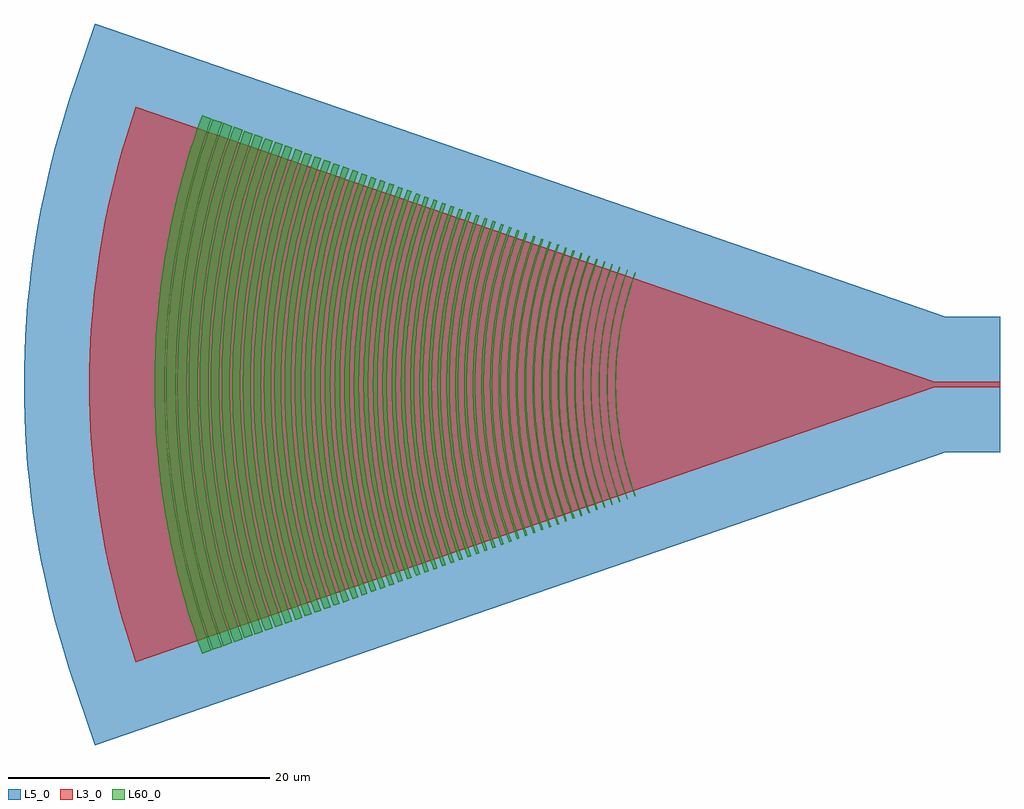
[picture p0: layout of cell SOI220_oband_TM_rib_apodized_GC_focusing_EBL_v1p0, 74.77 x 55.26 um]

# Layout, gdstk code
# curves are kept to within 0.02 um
import gdstk
lib = gdstk.Library(unit=1e-6, precision=1e-09)
def P(c, l, *ps):  # polygons
    for p in ps: c.add(gdstk.Polygon(p, *l))
L3_0 = (3, 0)
L5_0 = (5, 0)
L60_0 = (60, 0)

soi220_oband_tm_rib_apod = lib.new_cell('SOI220_oband_TM_rib_apodized_GC_focusing_EBL_v1p0')
P(soi220_oband_tm_rib_apod, L3_0, [(-66.209,-21.276),(-66.914,-19.106),(-67.828,-15.81),(-68.341,-13.587),(-68.776,-11.348),(-69.282,-7.964),(-69.52,-5.696),(-69.61,-4.559),(-69.729,-2.281),(-69.769,0),(-69.729,2.281),(-69.61,4.559),(-69.52,5.696),(-69.282,7.964),(-68.776,11.348),(-68.341,13.587),(-67.828,15.81),(-66.914,19.106),(-66.209,21.276),(-5,0.2),(0,0.2),(0,-0.2),(-5,-0.2)])
P(soi220_oband_tm_rib_apod, L5_0, [(-69.309,-27.631),(-69.364,-27.604),(-71.327,-21.739),(-72.044,-19.39),(-72.68,-17.02),(-73.232,-14.626),(-73.476,-13.423),(-73.903,-11.006),(-74.245,-8.573),(-74.384,-7.353),(-74.598,-4.907),(-74.672,-3.681),(-74.726,-2.456),(-74.769,0),(-74.726,2.456),(-74.672,3.681),(-74.598,4.907),(-74.384,7.353),(-74.245,8.573),(-73.903,11.006),(-73.476,13.423),(-73.232,14.626),(-72.68,17.02),(-72.044,19.39),(-71.327,21.739),(-69.364,27.604),(-69.309,27.631),(-4.163,5.2),(0,5.2),(0,-5.2),(-4.163,-5.2)])
P(soi220_oband_tm_rib_apod, L60_0, [(-27.967,-8.571),(-28.114,-8.159),(-28.319,-7.536),(-28.509,-6.908),(-28.625,-6.486),(-28.885,-5.424),(-29.019,-4.781),(-29.098,-4.351),(-29.203,-3.704),(-29.293,-3.054),(-29.384,-2.184),(-29.455,-1.093),(-29.479,0),(-29.455,1.093),(-29.384,2.184),(-29.293,3.054),(-29.203,3.704),(-29.098,4.351),(-29.019,4.781),(-28.885,5.424),(-28.625,6.486),(-28.509,6.908),(-28.319,7.536),(-28.114,8.159),(-27.967,8.571),(-27.911,8.551),(-28.127,7.933),(-28.327,7.309),(-28.51,6.681),(-28.676,6.048),(-28.873,5.198),(-29.076,4.126),(-29.233,3.047),(-29.324,2.179),(-29.395,1.09),(-29.419,0),(-29.395,-1.09),(-29.324,-2.179),(-29.233,-3.047),(-29.076,-4.126),(-28.873,-5.198),(-28.676,-6.048),(-28.51,-6.681),(-28.327,-7.309),(-28.127,-7.933),(-27.911,-8.551)],
  [(-28.572,-8.79),(-28.931,-7.729),(-29.126,-7.085),(-29.245,-6.653),(-29.512,-5.563),(-29.649,-4.905),(-29.73,-4.463),(-29.901,-3.355),(-29.981,-2.686),(-30.023,-2.24),(-30.059,-1.793),(-30.097,-1.121),(-30.121,0),(-30.097,1.121),(-30.059,1.793),(-30.023,2.24),(-29.981,2.686),(-29.901,3.355),(-29.73,4.463),(-29.649,4.905),(-29.512,5.563),(-29.245,6.653),(-29.126,7.085),(-28.931,7.729),(-28.572,8.79),(-28.515,8.77),(-28.736,8.136),(-28.941,7.497),(-29.128,6.853),(-29.299,6.203),(-29.501,5.331),(-29.632,4.673),(-29.709,4.232),(-29.87,3.125),(-29.921,2.68),(-29.982,2.012),(-30.037,1.118),(-30.061,0),(-30.037,-1.118),(-29.982,-2.012),(-29.921,-2.68),(-29.87,-3.125),(-29.709,-4.232),(-29.632,-4.673),(-29.501,-5.331),(-29.299,-6.203),(-29.128,-6.853),(-28.941,-7.497),(-28.736,-8.136),(-28.515,-8.77)],
  [(-29.153,-9.002),(-29.307,-8.57),(-29.523,-7.915),(-29.722,-7.255),(-29.844,-6.812),(-29.959,-6.368),(-30.117,-5.697),(-30.213,-5.248),(-30.341,-4.57),(-30.452,-3.891),(-30.515,-3.436),(-30.572,-2.98),(-30.641,-2.294),(-30.677,-1.836),(-30.716,-1.149),(-30.732,-0.689),(-30.741,0),(-30.732,0.689),(-30.716,1.149),(-30.692,1.607),(-30.641,2.294),(-30.572,2.98),(-30.515,3.436),(-30.452,3.891),(-30.341,4.57),(-30.213,5.248),(-30.117,5.697),(-29.959,6.368),(-29.844,6.812),(-29.722,7.255),(-29.523,7.915),(-29.307,8.57),(-29.153,9.002),(-29.097,8.982),(-29.396,8.115),(-29.6,7.459),(-29.901,6.353),(-30.008,5.908),(-30.154,5.236),(-30.321,4.334),(-30.393,3.882),(-30.485,3.201),(-30.581,2.289),(-30.617,1.832),(-30.656,1.146),(-30.677,0.458),(-30.681,0),(-30.677,-0.458),(-30.656,-1.146),(-30.617,-1.832),(-30.581,-2.289),(-30.485,-3.201),(-30.393,-3.882),(-30.321,-4.334),(-30.154,-5.236),(-30.008,-5.908),(-29.901,-6.353),(-29.6,-7.459),(-29.396,-8.115),(-29.097,-8.982)],
  [(-29.735,-9.214),(-29.892,-8.772),(-30.113,-8.101),(-30.251,-7.652),(-30.442,-6.973),(-30.56,-6.517),(-30.722,-5.831),(-30.951,-4.678),(-31.064,-3.982),(-31.16,-3.283),(-31.258,-2.348),(-31.295,-1.879),(-31.334,-1.176),(-31.351,-0.706),(-31.36,0),(-31.351,0.706),(-31.334,1.176),(-31.295,1.879),(-31.258,2.348),(-31.16,3.283),(-31.064,3.982),(-30.951,4.678),(-30.722,5.831),(-30.56,6.517),(-30.442,6.973),(-30.251,7.652),(-30.113,8.101),(-29.892,8.772),(-29.735,9.214),(-29.679,9.194),(-29.911,8.529),(-30.125,7.859),(-30.322,7.184),(-30.502,6.503),(-30.713,5.589),(-30.892,4.668),(-31.005,3.973),(-31.07,3.509),(-31.153,2.81),(-31.198,2.343),(-31.235,1.875),(-31.274,1.173),(-31.291,0.704),(-31.3,0),(-31.291,-0.704),(-31.274,-1.173),(-31.235,-1.875),(-31.198,-2.343),(-31.153,-2.81),(-31.07,-3.509),(-31.005,-3.973),(-30.892,-4.668),(-30.713,-5.589),(-30.502,-6.503),(-30.322,-7.184),(-30.125,-7.859),(-29.911,-8.529),(-29.679,-9.194)],
  [(-30.32,-9.427),(-30.707,-8.288),(-31.043,-7.133),(-31.328,-5.965),(-31.476,-5.26),(-31.563,-4.786),(-31.746,-3.597),(-31.877,-2.402),(-31.956,-1.202),(-31.982,0),(-31.956,1.202),(-31.877,2.402),(-31.746,3.597),(-31.563,4.786),(-31.476,5.26),(-31.328,5.965),(-31.043,7.133),(-30.707,8.288),(-30.32,9.427),(-30.253,9.403),(-30.49,8.723),(-30.71,8.038),(-30.911,7.347),(-31.094,6.651),(-31.359,5.481),(-31.534,4.537),(-31.706,3.35),(-31.826,2.157),(-31.885,1.199),(-31.911,0),(-31.885,-1.199),(-31.826,-2.157),(-31.706,-3.35),(-31.534,-4.537),(-31.359,-5.481),(-31.094,-6.651),(-30.911,-7.347),(-30.71,-8.038),(-30.49,-8.723),(-30.253,-9.403)],
  [(-30.922,-9.645),(-31.317,-8.481),(-31.724,-7.062),(-32.006,-5.863),(-32.236,-4.655),(-32.412,-3.437),(-32.515,-2.458),(-32.595,-1.231),(-32.622,0),(-32.595,1.231),(-32.515,2.458),(-32.412,3.437),(-32.236,4.655),(-32.006,5.863),(-31.724,7.062),(-31.317,8.481),(-30.922,9.645),(-30.821,9.609),(-31.215,8.449),(-31.558,7.272),(-31.849,6.081),(-32.13,4.637),(-32.306,3.424),(-32.408,2.449),(-32.488,1.226),(-32.515,0),(-32.488,-1.226),(-32.408,-2.449),(-32.306,-3.424),(-32.13,-4.637),(-31.849,-6.081),(-31.558,-7.272),(-31.215,-8.449),(-30.821,-9.609)],
  [(-31.52,-9.864),(-31.925,-8.673),(-32.276,-7.465),(-32.575,-6.242),(-32.821,-5.008),(-33.012,-3.765),(-33.15,-2.513),(-33.232,-1.258),(-33.259,0),(-33.232,1.258),(-33.15,2.513),(-33.012,3.765),(-32.821,5.008),(-32.575,6.242),(-32.276,7.465),(-31.925,8.673),(-31.52,9.864),(-31.409,9.824),(-31.812,8.637),(-32.226,7.191),(-32.513,5.972),(-32.747,4.74),(-32.927,3.5),(-33.032,2.503),(-33.114,1.253),(-33.141,0),(-33.114,-1.253),(-33.032,-2.503),(-32.927,-3.5),(-32.747,-4.74),(-32.513,-5.972),(-32.226,-7.191),(-31.812,-8.637),(-31.409,-9.824)],
  [(-32.105,-10.076),(-32.518,-8.86),(-32.877,-7.626),(-33.238,-6.125),(-33.433,-5.116),(-33.629,-3.846),(-33.769,-2.568),(-33.853,-1.285),(-33.881,0),(-33.853,1.285),(-33.769,2.568),(-33.629,3.846),(-33.433,5.116),(-33.238,6.125),(-32.877,7.626),(-32.518,8.86),(-32.105,10.076),(-32,10.039),(-32.412,8.826),(-32.835,7.349),(-33.129,6.102),(-33.409,4.592),(-33.551,3.577),(-33.68,2.303),(-33.742,1.28),(-33.77,0),(-33.742,-1.28),(-33.68,-2.303),(-33.551,-3.577),(-33.409,-4.592),(-33.129,-6.102),(-32.835,-7.349),(-32.412,-8.826),(-32,-10.039)],
  [(-32.715,-10.298),(-33.137,-9.054),(-33.504,-7.793),(-33.817,-6.517),(-34.073,-5.228),(-34.273,-3.93),(-34.438,-2.362),(-34.512,-1.051),(-34.53,0),(-34.512,1.051),(-34.438,2.362),(-34.273,3.93),(-34.073,5.228),(-33.817,6.517),(-33.504,7.793),(-33.137,9.054),(-32.715,10.298),(-32.583,10.251),(-33.003,9.012),(-33.369,7.757),(-33.68,6.487),(-33.979,4.947),(-34.167,3.653),(-34.298,2.351),(-34.372,1.046),(-34.39,0),(-34.372,-1.046),(-34.298,-2.351),(-34.167,-3.653),(-33.979,-4.947),(-33.68,-6.487),(-33.369,-7.757),(-33.003,-9.012),(-32.583,-10.251)],
  [(-33.309,-10.515),(-33.74,-9.245),(-34.115,-7.957),(-34.434,-6.654),(-34.696,-5.339),(-34.9,-4.013),(-35.046,-2.68),(-35.134,-1.341),(-35.163,0),(-35.134,1.341),(-35.046,2.68),(-34.9,4.013),(-34.696,5.339),(-34.434,6.654),(-34.115,7.957),(-33.74,9.245),(-33.309,10.515),(-33.184,10.47),(-33.613,9.205),(-33.987,7.923),(-34.361,6.364),(-34.61,5.052),(-34.802,3.731),(-34.914,2.668),(-35.001,1.335),(-35.03,0),(-35.001,-1.335),(-34.914,-2.668),(-34.802,-3.731),(-34.61,-5.052),(-34.361,-6.364),(-33.987,-7.923),(-33.613,-9.205),(-33.184,-10.47)],
  [(-33.918,-10.737),(-34.359,-9.44),(-34.742,-8.125),(-35.068,-6.795),(-35.335,-5.451),(-35.544,-4.098),(-35.716,-2.463),(-35.793,-1.096),(-35.812,0),(-35.793,1.096),(-35.716,2.463),(-35.544,4.098),(-35.335,5.451),(-35.068,6.795),(-34.742,8.125),(-34.359,9.44),(-33.918,10.737),(-33.783,10.688),(-34.222,9.397),(-34.673,7.824),(-34.985,6.497),(-35.239,5.158),(-35.435,3.808),(-35.572,2.452),(-35.649,1.091),(-35.668,0),(-35.649,-1.091),(-35.572,-2.452),(-35.435,-3.808),(-35.239,-5.158),(-34.985,-6.497),(-34.673,-7.824),(-34.222,-9.397),(-33.783,-10.688)],
  [(-34.522,-10.955),(-34.97,-9.633),(-35.361,-8.291),(-35.694,-6.933),(-35.967,-5.563),(-36.179,-4.182),(-36.331,-2.792),(-36.423,-1.397),(-36.453,0),(-36.423,1.397),(-36.331,2.792),(-36.179,4.182),(-35.967,5.563),(-35.694,6.933),(-35.361,8.291),(-34.97,9.633),(-34.522,10.955),(-34.387,10.907),(-34.917,9.324),(-35.294,7.985),(-35.613,6.631),(-35.873,5.264),(-36.072,3.887),(-36.212,2.502),(-36.291,1.113),(-36.31,0),(-36.291,-1.113),(-36.212,-2.502),(-36.072,-3.887),(-35.873,-5.264),(-35.613,-6.631),(-35.294,-7.985),(-34.917,-9.324),(-34.387,-10.907)],
  [(-35.126,-11.176),(-35.585,-9.827),(-35.984,-8.458),(-36.322,-7.073),(-36.601,-5.674),(-36.818,-4.266),(-36.997,-2.564),(-37.066,-1.426),(-37.097,0),(-37.066,1.426),(-36.997,2.564),(-36.818,4.266),(-36.601,5.674),(-36.322,7.073),(-35.984,8.458),(-35.585,9.827),(-35.126,11.176),(-34.984,11.125),(-35.441,9.781),(-35.91,8.144),(-36.293,6.485),(-36.546,5.088),(-36.704,3.964),(-36.846,2.552),(-36.915,1.419),(-36.946,0),(-36.915,-1.419),(-36.846,-2.552),(-36.704,-3.964),(-36.546,-5.088),(-36.293,-6.485),(-35.91,-8.144),(-35.441,-9.781),(-34.984,-11.125)],
  [(-35.742,-11.399),(-36.209,-10.023),(-36.616,-8.627),(-36.962,-7.214),(-37.246,-5.788),(-37.467,-4.351),(-37.625,-2.905),(-37.72,-1.454),(-37.752,0),(-37.72,1.454),(-37.625,2.905),(-37.467,4.351),(-37.246,5.788),(-36.962,7.214),(-36.616,8.627),(-36.209,10.023),(-35.742,11.399),(-35.588,11.344),(-36.139,9.698),(-36.531,8.305),(-36.922,6.613),(-37.18,5.189),(-37.375,3.755),(-37.486,2.602),(-37.568,1.158),(-37.588,0),(-37.568,-1.158),(-37.486,-2.602),(-37.375,-3.755),(-37.18,-5.189),(-36.922,-6.613),(-36.531,-8.305),(-36.139,-9.698),(-35.588,-11.344)],
  [(-36.364,-11.625),(-36.84,-10.222),(-37.255,-8.799),(-37.607,-7.358),(-37.896,-5.902),(-38.123,-4.437),(-38.283,-2.963),(-38.381,-1.482),(-38.413,0),(-38.381,1.482),(-38.283,2.963),(-38.123,4.437),(-37.896,5.902),(-37.607,7.358),(-37.255,8.799),(-36.84,10.222),(-36.364,11.625),(-36.198,11.566),(-36.672,10.169),(-37.16,8.467),(-37.498,7.031),(-37.821,5.29),(-38.02,3.828),(-38.133,2.653),(-38.205,1.475),(-38.237,0),(-38.205,-1.475),(-38.133,-2.653),(-38.02,-3.828),(-37.821,-5.29),(-37.498,-7.031),(-37.16,-8.467),(-36.672,-10.169),(-36.198,-11.566)],
  [(-36.984,-11.852),(-37.47,-10.421),(-37.893,-8.969),(-38.253,-7.501),(-38.547,-6.018),(-38.777,-4.523),(-38.942,-3.02),(-39.041,-1.512),(-39.074,0),(-39.041,1.512),(-38.942,3.02),(-38.777,4.523),(-38.547,6.018),(-38.253,7.501),(-37.893,8.969),(-37.47,10.421),(-36.984,11.852),(-36.81,11.789),(-37.294,10.365),(-37.791,8.631),(-38.136,7.167),(-38.465,5.392),(-38.632,4.201),(-38.783,2.704),(-38.868,1.203),(-38.889,0),(-38.868,-1.203),(-38.783,-2.704),(-38.632,-4.201),(-38.465,-5.392),(-38.136,-7.167),(-37.791,-8.631),(-37.294,-10.365),(-36.81,-11.789)],
  [(-37.602,-12.077),(-38.098,-10.618),(-38.528,-9.139),(-38.895,-7.643),(-39.195,-6.132),(-39.43,-4.609),(-39.597,-3.078),(-39.699,-1.541),(-39.732,0),(-39.699,1.541),(-39.597,3.078),(-39.43,4.609),(-39.195,6.132),(-38.895,7.643),(-38.528,9.139),(-38.098,10.618),(-37.602,12.077),(-37.42,12.011),(-37.913,10.56),(-38.419,8.793),(-38.771,7.302),(-39.106,5.494),(-39.312,3.976),(-39.43,2.755),(-39.517,1.226),(-39.538,0),(-39.517,-1.226),(-39.43,-2.755),(-39.312,-3.976),(-39.106,-5.494),(-38.771,-7.302),(-38.419,-8.793),(-37.913,-10.56),(-37.42,-12.011)],
  [(-38.225,-12.303),(-38.729,-10.818),(-39.168,-9.311),(-39.541,-7.787),(-39.848,-6.247),(-40.086,-4.696),(-40.257,-3.135),(-40.36,-1.569),(-40.394,0),(-40.36,1.569),(-40.257,3.135),(-40.086,4.696),(-39.848,6.247),(-39.541,7.787),(-39.168,9.311),(-38.729,10.818),(-38.225,12.303),(-38.031,12.234),(-38.533,10.756),(-39.049,8.956),(-39.47,7.131),(-39.748,5.596),(-39.958,4.049),(-40.078,2.806),(-40.154,1.56),(-40.188,0),(-40.154,-1.56),(-40.078,-2.806),(-39.958,-4.049),(-39.748,-5.596),(-39.47,-7.131),(-39.049,-8.956),(-38.533,-10.756),(-38.031,-12.234)],
  [(-38.851,-12.531),(-39.365,-11.019),(-39.812,-9.484),(-40.193,-7.931),(-40.505,-6.363),(-40.747,-4.783),(-40.921,-3.193),(-41.026,-1.599),(-41.061,0),(-41.026,1.599),(-40.921,3.193),(-40.747,4.783),(-40.505,6.363),(-40.193,7.931),(-39.812,9.484),(-39.365,11.019),(-38.851,12.531),(-38.645,12.457),(-39.156,10.953),(-39.682,9.12),(-40.111,7.262),(-40.394,5.698),(-40.571,4.439),(-40.73,2.858),(-40.82,1.271),(-40.842,0),(-40.82,-1.271),(-40.73,-2.858),(-40.571,-4.439),(-40.394,-5.698),(-40.111,-7.262),(-39.682,-9.12),(-39.156,-10.953),(-38.645,-12.457)],
  [(-39.484,-12.761),(-40.007,-11.221),(-40.462,-9.658),(-40.85,-8.076),(-41.168,-6.479),(-41.415,-4.87),(-41.592,-3.252),(-41.699,-1.628),(-41.734,0),(-41.699,1.628),(-41.592,3.252),(-41.415,4.87),(-41.168,6.479),(-40.85,8.076),(-40.462,9.658),(-40.007,11.221),(-39.484,12.761),(-39.266,12.683),(-39.882,10.842),(-40.321,9.285),(-40.758,7.393),(-41.045,5.801),(-41.226,4.519),(-41.388,2.909),(-41.467,1.618),(-41.502,0),(-41.467,-1.618),(-41.388,-2.909),(-41.226,-4.519),(-41.045,-5.801),(-40.758,-7.393),(-40.321,-9.285),(-39.882,-10.842),(-39.266,-12.683)],
  [(-40.121,-12.994),(-40.655,-11.425),(-41.119,-9.834),(-41.512,-8.223),(-41.836,-6.597),(-42.088,-4.959),(-42.268,-3.312),(-42.377,-1.658),(-42.413,0),(-42.377,1.658),(-42.268,3.312),(-42.088,4.959),(-41.836,6.597),(-41.512,8.223),(-41.119,9.834),(-40.655,11.425),(-40.121,12.994),(-39.891,12.911),(-40.519,11.037),(-40.966,9.452),(-41.41,7.526),(-41.703,5.905),(-41.887,4.6),(-42.052,2.962),(-42.145,1.317),(-42.168,0),(-42.145,-1.317),(-42.052,-2.962),(-41.887,-4.6),(-41.703,-5.905),(-41.41,-7.526),(-40.966,-9.452),(-40.519,-11.037),(-39.891,-12.911)],
  [(-40.766,-13.227),(-41.308,-11.631),(-41.78,-10.011),(-42.181,-8.372),(-42.51,-6.717),(-42.767,-5.049),(-42.951,-3.372),(-43.061,-1.688),(-43.098,0),(-43.061,1.688),(-42.951,3.372),(-42.767,5.049),(-42.51,6.717),(-42.181,8.372),(-41.78,10.011),(-41.308,11.631),(-40.766,13.227),(-40.522,13.14),(-41.061,11.553),(-41.615,9.62),(-42.068,7.66),(-42.366,6.01),(-42.553,4.682),(-42.721,3.014),(-42.816,1.341),(-42.839,0),(-42.816,-1.341),(-42.721,-3.014),(-42.553,-4.682),(-42.366,-6.01),(-42.068,-7.66),(-41.615,-9.62),(-41.061,-11.553),(-40.522,-13.14)],
  [(-41.414,-13.464),(-41.965,-11.839),(-42.447,-10.19),(-42.855,-8.521),(-43.19,-6.836),(-43.452,-5.139),(-43.638,-3.432),(-43.751,-1.717),(-43.788,0),(-43.751,1.717),(-43.638,3.432),(-43.452,5.139),(-43.19,6.836),(-42.855,8.521),(-42.447,10.19),(-41.965,11.839),(-41.414,13.464),(-41.158,13.372),(-41.808,11.431),(-42.271,9.789),(-42.662,8.129),(-43.035,6.116),(-43.225,4.765),(-43.395,3.068),(-43.479,1.705),(-43.516,0),(-43.479,-1.705),(-43.395,-3.068),(-43.225,-4.765),(-43.035,-6.116),(-42.662,-8.129),(-42.271,-9.789),(-41.808,-11.431),(-41.158,-13.372)],
  [(-42.068,-13.702),(-42.63,-12.048),(-43.119,-10.37),(-43.534,-8.672),(-43.876,-6.957),(-44.142,-5.229),(-44.332,-3.492),(-44.446,-1.748),(-44.484,0),(-44.446,1.748),(-44.332,3.492),(-44.142,5.229),(-43.876,6.957),(-43.534,8.672),(-43.119,10.37),(-42.63,12.048),(-42.068,13.702),(-41.799,13.605),(-42.357,11.962),(-42.931,9.96),(-43.329,8.271),(-43.708,6.223),(-43.942,4.503),(-44.075,3.121),(-44.174,1.388),(-44.198,0),(-44.174,-1.388),(-44.075,-3.121),(-43.942,-4.503),(-43.708,-6.223),(-43.329,-8.271),(-42.931,-9.96),(-42.357,-11.962),(-41.799,-13.605)],
  [(-42.727,-13.941),(-43.298,-12.258),(-43.796,-10.551),(-44.219,-8.823),(-44.565,-7.079),(-44.836,-5.321),(-45.03,-3.553),(-45.146,-1.778),(-45.185,0),(-45.146,1.778),(-45.03,3.553),(-44.836,5.321),(-44.565,7.079),(-44.219,8.823),(-43.796,10.551),(-43.298,12.258),(-42.727,13.941),(-42.445,13.84),(-43.117,11.831),(-43.596,10.132),(-44.073,8.068),(-44.387,6.33),(-44.625,4.581),(-44.76,3.175),(-44.86,1.412),(-44.885,0),(-44.86,-1.412),(-44.76,-3.175),(-44.625,-4.581),(-44.387,-6.33),(-44.073,-8.068),(-43.596,-10.132),(-43.117,-11.831),(-42.445,-13.84)],
  [(-43.391,-14.183),(-43.972,-12.47),(-44.478,-10.733),(-44.908,-8.976),(-45.261,-7.202),(-45.536,-5.413),(-45.733,-3.614),(-45.852,-1.809),(-45.891,0),(-45.852,1.809),(-45.733,3.614),(-45.536,5.413),(-45.261,7.202),(-44.908,8.976),(-44.478,10.733),(-43.972,12.47),(-43.391,14.183),(-43.095,14.077),(-43.779,12.033),(-44.266,10.305),(-44.751,8.206),(-45.125,6.084),(-45.352,4.302),(-45.477,2.871),(-45.552,1.436),(-45.577,0),(-45.552,-1.436),(-45.477,-2.871),(-45.352,-4.302),(-45.125,-6.084),(-44.751,-8.206),(-44.266,-10.305),(-43.779,-12.033),(-43.095,-14.077)],
  [(-44.058,-14.425),(-44.649,-12.684),(-45.164,-10.918),(-45.601,-9.13),(-45.96,-7.325),(-46.24,-5.506),(-46.441,-3.677),(-46.561,-1.84),(-46.601,0),(-46.561,1.84),(-46.441,3.677),(-46.24,5.506),(-45.96,7.325),(-45.601,9.13),(-45.164,10.918),(-44.649,12.684),(-44.058,14.425),(-43.749,14.315),(-44.336,12.586),(-44.94,10.479),(-45.433,8.344),(-45.758,6.547),(-46.004,4.738),(-46.144,3.284),(-46.248,1.461),(-46.273,0),(-46.248,-1.461),(-46.144,-3.284),(-46.004,-4.738),(-45.758,-6.547),(-45.433,-8.344),(-44.94,-10.479),(-44.336,-12.586),(-43.749,-14.315)],
  [(-44.731,-14.67),(-45.331,-12.9),(-45.855,-11.103),(-46.3,-9.285),(-46.665,-7.45),(-46.95,-5.6),(-47.154,-3.739),(-47.276,-1.871),(-47.317,0),(-47.276,1.871),(-47.154,3.739),(-46.95,5.6),(-46.665,7.45),(-46.3,9.285),(-45.855,11.103),(-45.331,12.9),(-44.731,14.67),(-44.408,14.555),(-45.115,12.442),(-45.619,10.655),(-46.12,8.484),(-46.507,6.29),(-46.7,4.817),(-46.843,3.339),(-46.948,1.485),(-46.974,0),(-46.948,-1.485),(-46.843,-3.339),(-46.7,-4.817),(-46.507,-6.29),(-46.12,-8.484),(-45.619,-10.655),(-45.115,-12.442),(-44.408,-14.555)],
  [(-45.408,-14.917),(-46.019,-13.117),(-46.552,-11.29),(-47.004,-9.441),(-47.376,-7.574),(-47.665,-5.694),(-47.872,-3.801),(-47.997,-1.903),(-48.038,0),(-47.997,1.903),(-47.872,3.801),(-47.665,5.694),(-47.376,7.574),(-47.004,9.441),(-46.552,11.29),(-46.019,13.117),(-45.408,14.917),(-45.071,14.796),(-45.79,12.648),(-46.395,10.466),(-46.812,8.625),(-47.205,6.394),(-47.402,4.897),(-47.575,3.018),(-47.654,1.51),(-47.68,0),(-47.654,-1.51),(-47.575,-3.018),(-47.402,-4.897),(-47.205,-6.394),(-46.812,-8.625),(-46.395,-10.466),(-45.79,-12.648),(-45.071,-14.796)],
  [(-46.091,-15.166),(-46.713,-13.336),(-47.254,-11.478),(-47.714,-9.598),(-48.091,-7.701),(-48.386,-5.788),(-48.597,-3.864),(-48.723,-1.934),(-48.765,0),(-48.723,1.934),(-48.597,3.864),(-48.386,5.788),(-48.091,7.701),(-47.714,9.598),(-47.254,11.478),(-46.713,13.336),(-46.091,15.166),(-45.739,15.039),(-46.47,12.856),(-47.085,10.638),(-47.583,8.39),(-47.908,6.499),(-48.15,4.596),(-48.284,3.067),(-48.364,1.535),(-48.391,0),(-48.364,-1.535),(-48.284,-3.067),(-48.15,-4.596),(-47.908,-6.499),(-47.583,-8.39),(-47.085,-10.638),(-46.47,-12.856),(-45.739,-15.039)],
  [(-46.78,-15.417),(-47.412,-13.555),(-47.962,-11.667),(-48.43,-9.756),(-48.813,-7.828),(-49.113,-5.884),(-49.327,-3.929),(-49.455,-1.966),(-49.498,0),(-49.455,1.966),(-49.327,3.929),(-49.113,5.884),(-48.813,7.828),(-48.43,9.756),(-47.962,11.667),(-47.412,13.555),(-46.78,15.417),(-46.413,15.285),(-47.155,13.066),(-47.781,10.811),(-48.211,8.91),(-48.617,6.605),(-48.821,5.059),(-48.999,3.117),(-49.081,1.56),(-49.108,0),(-49.081,-1.56),(-48.999,-3.117),(-48.821,-5.059),(-48.617,-6.605),(-48.211,-8.91),(-47.781,-10.811),(-47.155,-13.066),(-46.413,-15.285)],
  [(-47.474,-15.669),(-48.116,-13.778),(-48.676,-11.858),(-49.151,-9.917),(-49.541,-7.956),(-49.844,-5.98),(-50.062,-3.993),(-50.194,-1.998),(-50.237,0),(-50.194,1.998),(-50.062,3.993),(-49.844,5.98),(-49.541,7.956),(-49.151,9.917),(-48.676,11.858),(-48.116,13.778),(-47.474,15.669),(-47.092,15.532),(-47.847,13.277),(-48.385,11.37),(-48.919,9.054),(-49.332,6.712),(-49.539,5.141),(-49.691,3.563),(-49.788,1.981),(-49.831,0),(-49.788,-1.981),(-49.691,-3.563),(-49.539,-5.141),(-49.332,-6.712),(-48.919,-9.054),(-48.385,-11.37),(-47.847,-13.277),(-47.092,-15.532)],
  [(-48.175,-15.924),(-48.827,-14.002),(-49.397,-12.051),(-49.879,-10.079),(-50.276,-8.085),(-50.584,-6.078),(-50.805,-4.058),(-50.939,-2.031),(-50.983,0),(-50.939,2.031),(-50.805,4.058),(-50.584,6.078),(-50.276,8.085),(-49.879,10.079),(-49.397,12.051),(-48.827,14.002),(-48.175,15.924),(-47.777,15.781),(-48.544,13.49),(-49.09,11.553),(-49.634,9.199),(-50.053,6.82),(-50.307,4.823),(-50.448,3.219),(-50.532,1.61),(-50.56,0),(-50.532,-1.61),(-50.448,-3.219),(-50.307,-4.823),(-50.053,-6.82),(-49.634,-9.199),(-49.09,-11.553),(-48.544,-13.49),(-47.777,-15.781)],
  [(-48.882,-16.181),(-49.545,-14.228),(-50.123,-12.246),(-50.614,-10.241),(-51.016,-8.216),(-51.33,-6.177),(-51.555,-4.124),(-51.69,-2.064),(-51.735,0),(-51.69,2.064),(-51.555,4.124),(-51.33,6.177),(-51.016,8.216),(-50.614,10.241),(-50.123,12.246),(-49.545,14.228),(-48.882,16.181),(-48.468,16.033),(-49.247,13.705),(-49.903,11.34),(-50.434,8.944),(-50.78,6.929),(-50.994,5.307),(-51.181,3.27),(-51.266,1.636),(-51.295,0),(-51.266,-1.636),(-51.181,-3.27),(-50.994,-5.307),(-50.78,-6.929),(-50.434,-8.944),(-49.903,-11.34),(-49.247,-13.705),(-48.468,-16.033)],
  [(-49.594,-16.441),(-50.268,-14.457),(-50.854,-12.442),(-51.353,-10.404),(-51.763,-8.348),(-52.082,-6.274),(-52.31,-4.19),(-52.448,-2.097),(-52.493,0),(-52.448,2.097),(-52.31,4.19),(-52.082,6.274),(-51.763,8.348),(-51.353,10.404),(-50.854,12.442),(-50.268,14.457),(-49.594,16.441),(-49.164,16.286),(-49.955,13.922),(-50.622,11.52),(-51.161,9.086),(-51.513,7.038),(-51.73,5.39),(-51.92,3.322),(-52.007,1.662),(-52.036,0),(-52.007,-1.662),(-51.92,-3.322),(-51.73,-5.39),(-51.513,-7.038),(-51.161,-9.086),(-50.622,-11.52),(-49.955,-13.922),(-49.164,-16.286)],
  [(-50.312,-16.702),(-50.997,-14.686),(-51.593,-12.64),(-52.1,-10.571),(-52.515,-8.481),(-52.839,-6.375),(-53.071,-4.257),(-53.211,-2.131),(-53.257,0),(-53.211,2.131),(-53.071,4.257),(-52.839,6.375),(-52.515,8.481),(-52.1,10.571),(-51.593,12.64),(-50.997,14.686),(-50.312,16.702),(-49.865,16.541),(-50.544,14.543),(-51.242,12.109),(-51.811,9.642),(-52.251,7.149),(-52.471,5.475),(-52.633,3.795),(-52.753,1.688),(-52.782,0),(-52.753,-1.688),(-52.633,-3.795),(-52.471,-5.475),(-52.251,-7.149),(-51.811,-9.642),(-51.242,-12.109),(-50.544,-14.543),(-49.865,-16.541)],
  [(-51.038,-16.966),(-51.733,-14.918),(-52.338,-12.84),(-52.853,-10.738),(-53.276,-8.614),(-53.605,-6.476),(-53.84,-4.324),(-53.982,-2.163),(-54.029,0),(-53.982,2.163),(-53.84,4.324),(-53.605,6.476),(-53.276,8.614),(-52.853,10.738),(-52.338,12.84),(-51.733,14.918),(-51.038,16.966),(-50.573,16.799),(-51.262,14.769),(-51.971,12.298),(-52.549,9.792),(-52.996,7.26),(-53.219,5.56),(-53.384,3.854),(-53.505,1.714),(-53.535,0),(-53.505,-1.714),(-53.384,-3.854),(-53.219,-5.56),(-52.996,-7.26),(-52.549,-9.792),(-51.971,-12.298),(-51.262,-14.769),(-50.573,-16.799)],
  [(-51.77,-17.232),(-52.476,-15.152),(-53.092,-13.042),(-53.614,-10.906),(-54.042,-8.75),(-54.377,-6.577),(-54.616,-4.392),(-54.761,-2.198),(-54.808,0),(-54.761,2.198),(-54.616,4.392),(-54.377,6.577),(-54.042,8.75),(-53.614,10.906),(-53.092,13.042),(-52.476,15.152),(-51.77,17.232),(-51.287,17.059),(-51.987,14.998),(-52.706,12.488),(-53.294,9.944),(-53.747,7.372),(-54.022,5.213),(-54.174,3.479),(-54.265,1.741),(-54.295,0),(-54.265,-1.741),(-54.174,-3.479),(-54.022,-5.213),(-53.747,-7.372),(-53.294,-9.944),(-52.706,-12.488),(-51.987,-14.998),(-51.287,-17.059)],
  [(-52.509,-17.5),(-53.225,-15.389),(-53.85,-13.245),(-54.381,-11.076),(-54.817,-8.886),(-55.156,-6.68),(-55.399,-4.46),(-55.546,-2.232),(-55.594,0),(-55.546,2.232),(-55.399,4.46),(-55.156,6.68),(-54.817,8.886),(-54.381,11.076),(-53.85,13.245),(-53.225,15.389),(-52.509,17.5),(-52.008,17.321),(-52.849,14.807),(-53.558,12.252),(-54.132,9.663),(-54.506,7.486),(-54.785,5.294),(-54.939,3.533),(-55.031,1.767),(-55.062,0),(-55.031,-1.767),(-54.939,-3.533),(-54.785,-5.294),(-54.506,-7.486),(-54.132,-9.663),(-53.558,-12.252),(-52.849,-14.807),(-52.008,-17.321)],
  [(-53.253,-17.772),(-53.982,-15.627),(-54.616,-13.45),(-55.155,-11.247),(-55.598,-9.024),(-55.942,-6.783),(-56.189,-4.53),(-56.337,-2.267),(-56.387,0),(-56.337,2.267),(-56.189,4.53),(-55.942,6.783),(-55.598,9.024),(-55.155,11.247),(-54.616,13.45),(-53.982,15.627),(-53.253,17.772),(-52.734,17.585),(-53.455,15.461),(-54.083,13.307),(-54.616,11.128),(-55.054,8.928),(-55.395,6.711),(-55.639,4.481),(-55.786,2.243),(-55.835,0),(-55.786,-2.243),(-55.639,-4.481),(-55.395,-6.711),(-55.054,-8.928),(-54.616,-11.128),(-54.083,-13.307),(-53.455,-15.461),(-52.734,-17.585)],
  [(-54.005,-18.045),(-54.744,-15.868),(-55.389,-13.657),(-55.936,-11.421),(-56.385,-9.163),(-56.735,-6.888),(-56.986,-4.599),(-57.136,-2.302),(-57.187,0),(-57.136,2.302),(-56.986,4.599),(-56.735,6.888),(-56.385,9.163),(-55.936,11.421),(-55.389,13.657),(-54.744,15.868),(-54.005,18.045),(-53.467,17.852),(-54.199,15.696),(-54.836,13.509),(-55.378,11.297),(-55.822,9.064),(-56.168,6.813),(-56.416,4.549),(-56.565,2.277),(-56.615,0),(-56.565,-2.277),(-56.416,-4.549),(-56.168,-6.813),(-55.822,-9.064),(-55.378,-11.297),(-54.836,-13.509),(-54.199,-15.696),(-53.467,-17.852)],
  [(-54.765,-18.321),(-55.516,-16.11),(-56.17,-13.866),(-56.725,-11.596),(-57.181,-9.303),(-57.537,-6.994),(-57.791,-4.67),(-57.944,-2.337),(-57.995,0),(-57.944,2.337),(-57.791,4.67),(-57.537,6.994),(-57.181,9.303),(-56.725,11.596),(-56.17,13.866),(-55.516,16.11),(-54.765,18.321),(-54.207,18.121),(-54.95,15.932),(-55.597,13.713),(-56.146,11.468),(-56.597,9.2),(-56.949,6.916),(-57.2,4.618),(-57.352,2.311),(-57.402,0),(-57.352,-2.311),(-57.2,-4.618),(-56.949,-6.916),(-56.597,-9.2),(-56.146,-11.468),(-55.597,-13.713),(-54.95,-15.932),(-54.207,-18.121)],
  [(-55.532,-18.6),(-56.294,-16.356),(-56.958,-14.078),(-57.521,-11.772),(-57.985,-9.445),(-58.346,-7.099),(-58.604,-4.741),(-58.759,-2.373),(-58.811,0),(-58.759,2.373),(-58.604,4.741),(-58.346,7.099),(-57.985,9.445),(-57.521,11.772),(-56.958,14.078),(-56.294,16.356),(-55.532,18.6),(-54.953,18.393),(-55.707,16.171),(-56.364,13.919),(-56.921,11.639),(-57.379,9.338),(-57.736,7.019),(-57.991,4.687),(-58.145,2.346),(-58.196,0),(-58.145,-2.346),(-57.991,-4.687),(-57.736,-7.019),(-57.379,-9.338),(-56.921,-11.639),(-56.364,-13.919),(-55.707,-16.171),(-54.953,-18.393)],
  [(-56.305,-18.882),(-57.08,-16.603),(-57.753,-14.291),(-58.326,-11.951),(-58.796,-9.588),(-59.163,-7.207),(-59.425,-4.813),(-59.582,-2.409),(-59.635,0),(-59.582,2.409),(-59.425,4.813),(-59.163,7.207),(-58.796,9.588),(-58.326,11.951),(-57.753,14.291),(-57.08,16.603),(-56.305,18.882),(-55.706,18.667),(-56.472,16.412),(-57.138,14.126),(-57.704,11.813),(-58.169,9.478),(-58.531,7.124),(-58.79,4.757),(-58.946,2.381),(-58.998,0),(-58.946,-2.381),(-58.79,-4.757),(-58.531,-7.124),(-58.169,-9.478),(-57.704,-11.813),(-57.138,-14.126),(-56.472,-16.412),(-55.706,-18.667)],
  [(-57.089,-19.167),(-57.873,-16.855),(-58.559,-14.507),(-59.139,-12.131),(-59.617,-9.732),(-59.988,-7.316),(-60.255,-4.884),(-60.414,-2.445),(-60.468,0),(-60.414,2.445),(-60.255,4.884),(-59.988,7.316),(-59.617,9.732),(-59.139,12.131),(-58.559,14.507),(-57.873,16.855),(-57.089,19.167),(-56.468,18.944),(-57.244,16.656),(-57.921,14.336),(-58.495,11.988),(-58.967,9.618),(-59.334,7.23),(-59.597,4.827),(-59.755,2.416),(-59.808,0),(-59.755,-2.416),(-59.597,-4.827),(-59.334,-7.23),(-58.967,-9.618),(-58.495,-11.988),(-57.921,-14.336),(-57.244,-16.656),(-56.468,-18.944)],
  [(-57.879,-19.455),(-58.676,-17.107),(-59.371,-14.724),(-59.961,-12.313),(-60.445,-9.878),(-60.822,-7.425),(-61.092,-4.959),(-61.255,-2.482),(-61.309,0),(-61.255,2.482),(-61.092,4.959),(-60.822,7.425),(-60.445,9.878),(-59.961,12.313),(-59.371,14.724),(-58.676,17.107),(-57.879,19.455),(-57.236,19.224),(-58.025,16.902),(-58.711,14.547),(-59.294,12.165),(-59.772,9.76),(-60.145,7.336),(-60.412,4.899),(-60.573,2.452),(-60.626,0),(-60.573,-2.452),(-60.412,-4.899),(-60.145,-7.336),(-59.772,-9.76),(-59.294,-12.165),(-58.711,-14.547),(-58.025,-16.902),(-57.236,-19.224)],
  [(-58.678,-19.746),(-59.487,-17.363),(-60.193,-14.944),(-60.791,-12.498),(-61.283,-10.027),(-61.666,-7.537),(-61.94,-5.033),(-62.105,-2.519),(-62.16,0),(-62.105,2.519),(-61.94,5.033),(-61.666,7.537),(-61.283,10.027),(-60.791,12.498),(-60.193,14.944),(-59.487,17.363),(-58.678,19.746),(-58.012,19.506),(-58.812,17.15),(-59.509,14.761),(-60.1,12.344),(-60.586,9.904),(-60.964,7.444),(-61.235,4.971),(-61.398,2.488),(-61.452,0),(-61.398,-2.488),(-61.235,-4.971),(-60.964,-7.444),(-60.586,-9.904),(-60.1,-12.344),(-59.509,-14.761),(-58.812,-17.15),(-58.012,-19.506)],
  [(-59.487,-20.04),(-60.308,-17.621),(-61.023,-15.167),(-61.631,-12.683),(-62.13,-10.176),(-62.519,-7.649),(-62.797,-5.108),(-62.964,-2.556),(-63.02,0),(-62.964,2.556),(-62.797,5.108),(-62.519,7.649),(-62.13,10.176),(-61.631,12.683),(-61.023,15.167),(-60.308,17.621),(-59.487,20.04),(-58.797,19.792),(-59.609,17.401),(-60.315,14.977),(-60.915,12.525),(-61.408,10.049),(-61.792,7.553),(-62.067,5.044),(-62.232,2.524),(-62.287,0),(-62.232,-2.524),(-62.067,-5.044),(-61.792,-7.553),(-61.408,-10.049),(-60.915,-12.525),(-60.315,-14.977),(-59.609,-17.401),(-58.797,-19.792)],
  [(-60.305,-20.337),(-61.138,-17.884),(-61.863,-15.392),(-62.48,-12.872),(-62.986,-10.327),(-63.382,-7.762),(-63.664,-5.183),(-63.833,-2.594),(-63.89,0),(-63.833,2.594),(-63.664,5.183),(-63.382,7.762),(-62.986,10.327),(-62.48,12.872),(-61.863,15.392),(-61.138,17.884),(-60.305,20.337),(-59.59,20.081),(-60.414,17.655),(-61.13,15.196),(-61.739,12.708),(-62.239,10.195),(-62.629,7.663),(-62.908,5.117),(-63.075,2.561),(-63.131,0),(-63.075,-2.561),(-62.908,-5.117),(-62.629,-7.663),(-62.239,-10.195),(-61.739,-12.708),(-61.13,-15.196),(-60.414,-17.655),(-59.59,-20.081)],
  [(-61.131,-20.637),(-61.976,-18.148),(-62.712,-15.62),(-63.338,-13.062),(-63.852,-10.479),(-64.252,-7.878),(-64.539,-5.259),(-64.711,-2.633),(-64.769,0),(-64.711,2.633),(-64.539,5.259),(-64.252,7.878),(-63.852,10.479),(-63.338,13.062),(-62.712,15.62),(-61.976,18.148),(-61.131,20.637),(-60.392,20.372),(-61.227,17.912),(-61.954,15.417),(-62.572,12.892),(-63.079,10.343),(-63.474,7.775),(-63.757,5.191),(-63.927,2.598),(-63.984,0),(-63.927,-2.598),(-63.757,-5.191),(-63.474,-7.775),(-63.079,-10.343),(-62.572,-12.892),(-61.954,-15.417),(-61.227,-17.912),(-60.392,-20.372)])

lib.write_gds('SOI220_oband_TM_rib_apodized_GC_focusing_EBL_v1p0.gds')
